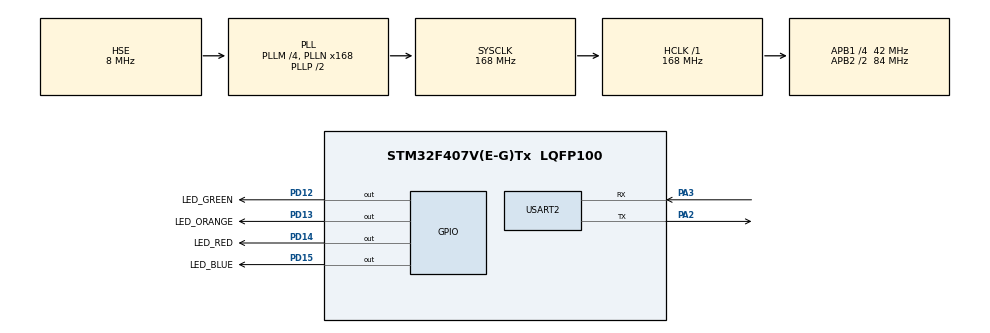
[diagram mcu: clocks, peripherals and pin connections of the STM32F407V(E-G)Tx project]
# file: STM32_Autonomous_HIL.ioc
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Dma.Request0=USART2_RX
Dma.Request1=USART2_TX
Dma.USART2_RX.0.Direction=DMA_PERIPH_TO_MEMORY
Dma.USART2_RX.0.FIFOMode=DMA_FIFOMODE_DISABLE
Dma.USART2_RX.0.Instance=DMA1_Stream5
Dma.USART2_RX.0.MemDataAlignment=DMA_MDATAALIGN_BYTE
Dma.USART2_RX.0.MemInc=DMA_MINC_ENABLE
Dma.USART2_RX.0.Mode=DMA_CIRCULAR
Dma.USART2_RX.0.PeriphDataAlignment=DMA_PDATAALIGN_BYTE
Dma.USART2_RX.0.PeriphInc=DMA_PINC_DISABLE
Dma.USART2_RX.0.Priority=DMA_PRIORITY_LOW
Dma.USART2_TX.1.Direction=DMA_MEMORY_TO_PERIPH
Dma.USART2_TX.1.FIFOMode=DMA_FIFOMODE_DISABLE
Dma.USART2_TX.1.Instance=DMA1_Stream6
Dma.USART2_TX.1.MemDataAlignment=DMA_MDATAALIGN_BYTE
Dma.USART2_TX.1.MemInc=DMA_MINC_ENABLE
Dma.USART2_TX.1.Mode=DMA_NORMAL
Dma.USART2_TX.1.PeriphDataAlignment=DMA_PDATAALIGN_BYTE
Dma.USART2_TX.1.PeriphInc=DMA_PINC_DISABLE
Dma.USART2_TX.1.Priority=DMA_PRIORITY_LOW
Mcu.Family=STM32F4
Mcu.Name=STM32F407V(E-G)Tx
Mcu.Package=LQFP100
NVIC.DMA1_Stream5_IRQn=true\:0\:0\:false\:false\:true\:false\:true\:true
NVIC.DMA1_Stream6_IRQn=true\:0\:0\:false\:false\:true\:false\:true\:true
NVIC.FPU_IRQn=true\:0\:0\:false\:false\:true\:true\:false\:true
NVIC.PriorityGroup=NVIC_PRIORITYGROUP_4
NVIC.TIM6_DAC_IRQn=true\:0\:0\:false\:false\:true\:true\:true\:true
NVIC.USART2_IRQn=true\:0\:0\:false\:false\:true\:true\:true\:true
PA13.Mode=Serial_Wire
PA13.Signal=SYS_JTMS-SWDIO
PA14.Mode=Serial_Wire
PA14.Signal=SYS_JTCK-SWCLK
PA2.Mode=Asynchronous
PA2.Signal=USART2_TX
PA3.Mode=Asynchronous
PA3.Signal=USART2_RX
PD12.GPIO_Label=LED_GREEN
PD12.Signal=GPIO_Output
PD13.GPIO_Label=LED_ORANGE
PD13.Signal=GPIO_Output
PD14.GPIO_Label=LED_RED
PD14.Signal=GPIO_Output
PD15.GPIO_Label=LED_BLUE
PD15.Signal=GPIO_Output
PH0-OSC_IN.Mode=HSE-External-Oscillator
PH0-OSC_IN.Signal=RCC_OSC_IN
PH1-OSC_OUT.Mode=HSE-External-Oscillator
PH1-OSC_OUT.Signal=RCC_OSC_OUT
ProjectManager.HeapSize=0x200
ProjectManager.StackSize=0x400
ProjectManager.TargetToolchain=STM32CubeIDE
RCC.48MHZClocksFreq_Value=84000000
RCC.AHBFreq_Value=168000000
RCC.APB1CLKDivider=RCC_HCLK_DIV4
RCC.APB1Freq_Value=42000000
RCC.APB1TimFreq_Value=84000000
RCC.APB2CLKDivider=RCC_HCLK_DIV2
RCC.APB2Freq_Value=84000000
RCC.APB2TimFreq_Value=168000000
RCC.CortexFreq_Value=168000000
RCC.HCLKFreq_Value=168000000
RCC.HSE_VALUE=8000000
RCC.HSI_VALUE=16000000
RCC.LSE_VALUE=32768
RCC.PLLM=4
RCC.PLLN=168
RCC.PLLSourceVirtual=RCC_PLLSOURCE_HSE
RCC.SYSCLKFreq_VALUE=168000000
RCC.SYSCLKSource=RCC_SYSCLKSOURCE_PLLCLK
RCC.VCOOutputFreq_Value=336000000
TIM6.Period=999
TIM6.Prescaler=419
USART2.VirtualMode=VM_ASYNC
VP_TIM6_VS_ClockSourceINT.Mode=Enable_Timer
board=custom

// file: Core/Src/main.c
/* USER CODE BEGIN Header */
/**
  ******************************************************************************
  * @file           : main.c
  * @brief          : Main program body
  ******************************************************************************
  * @attention
  *
  * Copyright (c) 2026 STMicroelectronics.
  * All rights reserved.
  *
  * This software is licensed under terms that can be found in the LICENSE file
  * in the root directory of this software component.
  * If no LICENSE file comes with this software, it is provided AS-IS.
  *
  ******************************************************************************
  */
/* USER CODE END Header */
#include "main.h"

/* USER CODE BEGIN Includes */

#include "hil_proto.h"
#include "pid_ctrl.h"
#include "perception.h"
#include "auto_logic.h"
#include <string.h> // memcpy için

/* USER CODE END Includes */

TIM_HandleTypeDef htim6;

UART_HandleTypeDef huart2;
DMA_HandleTypeDef hdma_usart2_rx;
DMA_HandleTypeDef hdma_usart2_tx;

/* USER CODE BEGIN PV */

Autonomous_Data_t   raw_rx_packet;   // DMA'nın veriyi dolduracağı ham paket
Perception_State_t  perc_state;      // İşlenmiş sensör verileri
PD_Controller_t     steer_pid;       // Direksiyon PD kontrolcüsü
Autonomous_Logic_t  auto_brain;      // Ana karar merkezi

// --------------------- GÜVENLİK VE DURUM -------------------------
uint32_t heartbeat_counter = 0;      // Veri akışını denetleyen sayaç
uint8_t  is_connected = 0;           // Bağlantı durumu (0: Kopuk, 1: Aktif)

/* USER CODE END PV */

void SystemClock_Config(void);
static void MX_GPIO_Init(void);
static void MX_DMA_Init(void);
static void MX_USART2_UART_Init(void);
static void MX_TIM6_Init(void);

int main(void)
{

  /* MCU Configuration--------------------------------------------------------*/

  /* Reset of all peripherals, Initializes the Flash interface and the Systick. */
  HAL_Init();

  /* Configure the system clock */
  SystemClock_Config();

  /* Initialize all configured peripherals */
  MX_GPIO_Init();
  MX_DMA_Init();
  MX_USART2_UART_Init();
  MX_TIM6_Init();
  /* USER CODE BEGIN 2 */

  // 1. Driver'ları başlat
    PD_Init(&steer_pid, 0.0015f, 0.0065f, 0.8f); // Kp, Kd ve Direksiyon Limiti
    Perception_Init(&perc_state);
    Logic_Init(&auto_brain);

    // 2. UART DMA Alımını Başlat (8 Byte'lık paket bekliyoruz)
    HAL_UART_Receive_DMA(&huart2, (uint8_t*)&raw_rx_packet, sizeof(Autonomous_Data_t));

    // 3. Kontrol Zamanlayıcısını (100Hz) Başlat
    HAL_TIM_Base_Start_IT(&htim6);

    printf("Otonom Kontrol Sistemi Hazır!\r\n");

  /* USER CODE END 2 */

  /* Infinite loop */
  while (1)
  {

  }
}

void SystemClock_Config(void)
{
  RCC_OscInitTypeDef RCC_OscInitStruct = {0};
  RCC_ClkInitTypeDef RCC_ClkInitStruct = {0};

  /** Configure the main internal regulator output voltage
  */
  __HAL_RCC_PWR_CLK_ENABLE();
  __HAL_PWR_VOLTAGESCALING_CONFIG(PWR_REGULATOR_VOLTAGE_SCALE1);

  /** Initializes the RCC Oscillators according to the specified parameters
  * in the RCC_OscInitTypeDef structure.
  */
  RCC_OscInitStruct.OscillatorType = RCC_OSCILLATORTYPE_HSE;
  RCC_OscInitStruct.HSEState = RCC_HSE_ON;
  RCC_OscInitStruct.PLL.PLLState = RCC_PLL_ON;
  RCC_OscInitStruct.PLL.PLLSource = RCC_PLLSOURCE_HSE;
  RCC_OscInitStruct.PLL.PLLM = 4;
  RCC_OscInitStruct.PLL.PLLN = 168;
  RCC_OscInitStruct.PLL.PLLP = RCC_PLLP_DIV2;
  RCC_OscInitStruct.PLL.PLLQ = 4;
  if (HAL_RCC_OscConfig(&RCC_OscInitStruct) != HAL_OK)
  {
    Error_Handler();
  }

  /** Initializes the CPU, AHB and APB buses clocks
  */
  RCC_ClkInitStruct.ClockType = RCC_CLOCKTYPE_HCLK|RCC_CLOCKTYPE_SYSCLK
                              |RCC_CLOCKTYPE_PCLK1|RCC_CLOCKTYPE_PCLK2;
  RCC_ClkInitStruct.SYSCLKSource = RCC_SYSCLKSOURCE_PLLCLK;
  RCC_ClkInitStruct.AHBCLKDivider = RCC_SYSCLK_DIV1;
  RCC_ClkInitStruct.APB1CLKDivider = RCC_HCLK_DIV4;
  RCC_ClkInitStruct.APB2CLKDivider = RCC_HCLK_DIV2;

  if (HAL_RCC_ClockConfig(&RCC_ClkInitStruct, FLASH_LATENCY_5) != HAL_OK)
  {
    Error_Handler();
  }
}

static void MX_TIM6_Init(void)
{

  TIM_MasterConfigTypeDef sMasterConfig = {0};

  htim6.Instance = TIM6;
  htim6.Init.Prescaler = 419;
  htim6.Init.CounterMode = TIM_COUNTERMODE_UP;
  htim6.Init.Period = 999;
  htim6.Init.AutoReloadPreload = TIM_AUTORELOAD_PRELOAD_DISABLE;
  if (HAL_TIM_Base_Init(&htim6) != HAL_OK)
  {
    Error_Handler();
  }
  sMasterConfig.MasterOutputTrigger = TIM_TRGO_RESET;
  sMasterConfig.MasterSlaveMode = TIM_MASTERSLAVEMODE_DISABLE;
  if (HAL_TIMEx_MasterConfigSynchronization(&htim6, &sMasterConfig) != HAL_OK)
  {
    Error_Handler();
  }

}

static void MX_USART2_UART_Init(void)
{

  huart2.Instance = USART2;
  huart2.Init.BaudRate = 115200;
  huart2.Init.WordLength = UART_WORDLENGTH_8B;
  huart2.Init.StopBits = UART_STOPBITS_1;
  huart2.Init.Parity = UART_PARITY_NONE;
  huart2.Init.Mode = UART_MODE_TX_RX;
  huart2.Init.HwFlowCtl = UART_HWCONTROL_NONE;
  huart2.Init.OverSampling = UART_OVERSAMPLING_16;
  if (HAL_UART_Init(&huart2) != HAL_OK)
  {
    Error_Handler();
  }

}

static void MX_DMA_Init(void)
{

  /* DMA controller clock enable */
  __HAL_RCC_DMA1_CLK_ENABLE();

  /* DMA interrupt init */
  /* DMA1_Stream5_IRQn interrupt configuration */
  HAL_NVIC_SetPriority(DMA1_Stream5_IRQn, 0, 0);
  HAL_NVIC_EnableIRQ(DMA1_Stream5_IRQn);
  /* DMA1_Stream6_IRQn interrupt configuration */
  HAL_NVIC_SetPriority(DMA1_Stream6_IRQn, 0, 0);
  HAL_NVIC_EnableIRQ(DMA1_Stream6_IRQn);

}

static void MX_GPIO_Init(void)
{
  GPIO_InitTypeDef GPIO_InitStruct = {0};

  /* GPIO Ports Clock Enable */
  __HAL_RCC_GPIOH_CLK_ENABLE();
  __HAL_RCC_GPIOA_CLK_ENABLE();
  __HAL_RCC_GPIOD_CLK_ENABLE();

  /*Configure GPIO pin Output Level */
  HAL_GPIO_WritePin(GPIOD, LED_GREEN_Pin|LED_ORANGE_Pin|LED_RED_Pin|LED_BLUE_Pin, GPIO_PIN_RESET);

  /*Configure GPIO pins : LED_GREEN_Pin LED_ORANGE_Pin LED_RED_Pin LED_BLUE_Pin */
  GPIO_InitStruct.Pin = LED_GREEN_Pin|LED_ORANGE_Pin|LED_RED_Pin|LED_BLUE_Pin;
  GPIO_InitStruct.Mode = GPIO_MODE_OUTPUT_PP;
  GPIO_InitStruct.Pull = GPIO_NOPULL;
  GPIO_InitStruct.Speed = GPIO_SPEED_FREQ_LOW;
  HAL_GPIO_Init(GPIOD, &GPIO_InitStruct);

}

/* USER CODE BEGIN 4 */

void HAL_TIM_PeriodElapsedCallback(TIM_HandleTypeDef *htim)
{
    if (htim->Instance == TIM6)
    {

        // --- 1. GÜVENLİK KONTROLÜ (WATCHDOG) ---
        heartbeat_counter++;
        if (heartbeat_counter > 50)
        {
        	// 500ms boyunca yeni veri gelmediyse
            is_connected = 0;
            // Acil Durum: Hızı kes, direksiyonu düzelt!
            Control_Command_t stop_cmd = {0xBB, 0.0f, -1.0f, 0x00};
            HAL_UART_Transmit(&huart2, (uint8_t*)&stop_cmd, sizeof(Control_Command_t), 10);
            HAL_GPIO_WritePin(GPIOD, GPIO_PIN_14, GPIO_PIN_SET); // Kırmızı LED Sabit Yanar
        }

        // --- 2. OTONOM MANTIK ÇALIŞTIR ---
        if (is_connected)
        {
            // Ham veriyi analiz et
            Perception_Process(&perc_state, &raw_rx_packet);

            // Karar ver ve komut üret
            Logic_Update(&auto_brain, &perc_state, &steer_pid);

            // Komutu Python'a (CARLA) geri gönder
            HAL_UART_Transmit(&huart2, (uint8_t*)&auto_brain.last_command, sizeof(Control_Command_t), 10);

            // Mavi LED yan-sön (Sistem çalışıyor "Heartbeat")
            HAL_GPIO_TogglePin(GPIOD, GPIO_PIN_15);
        }
    }
}

// UART'tan her veri geldiğinde bu fonksiyon tetiklenir
void HAL_UART_RxCpltCallback(UART_HandleTypeDef *huart)
{
    if (huart->Instance == USART2)
    {
        // Gelen verinin checksum'ını doğrula
        if (HIL_Validate_Checksum(&raw_rx_packet))
        {
            is_connected = 1;
            heartbeat_counter = 0; // Sayacı sıfırla, bağlantı canlı!
        }
    }
}

/* USER CODE END 4 */

void Error_Handler(void)
{
  __disable_irq();
  while (1)
  {
  }
}
